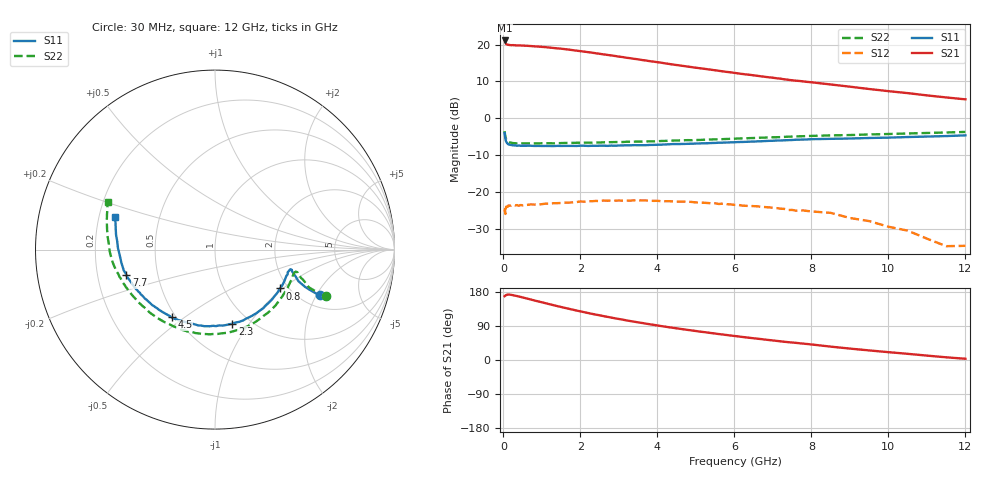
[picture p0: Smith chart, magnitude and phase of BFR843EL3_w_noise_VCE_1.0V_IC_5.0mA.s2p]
! Infineon Technologies  Discrete & RF Semiconductors
! BFR843EL3
! VCE =  1.0 V,  IC =  5.0 mA
! Common Emitter S-Parameters:  Aug 2013
# GHz  S  MA  R  50
!  f  S11  S21  S12  S22
! GHz  MAG  ANG  MAG  ANG  MAG  ANG  MAG  ANG
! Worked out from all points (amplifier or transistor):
!   103 points, 30 MHz to 12 GHz, reference 50 ohm
!   highest |S21| = 21.1 dB at 30 MHz (marker M1)
!   |S21| within 3 dB of that: start of sweep to 2.074 GHz
!   unconditionally stable (mu >= 1): 6.679 GHz to end of sweep
!   at 400 MHz: K = 0.99, MSG = 21.7 dB, |S12| = -23.7 dB
!   at 3.7 GHz: K = 0.75, MSG = 19.0 dB, |S12| = -22.3 dB
!   at 12 GHz: K = 5.34, MAG = 9.6 dB, |S12| = -34.6 dB
!   lowest NFmin = 0.89 dB at 450 MHz
!   S11 on the Smith chart (normalised r, x): 30 MHz: 2.48, -2.13; 800 MHz: 1.81, -0.95; 2.3 GHz: 0.83, -0.84; 4.5 GHz: 0.47, -0.45; 7.7 GHz: 0.33, -0.13; 12 GHz: 0.27, +0.15
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0.03  0.6362 -23.7  11.4 168.4  0.0537 33.3  0.671 -22.9
0.04  0.5739 -23.0  10.9 169.1  0.0587 26.7  0.6058 -22.5
0.06  0.498 -20.8  10.35 170.7  0.0587 24.1  0.5379 -20.2
0.1  0.4573 -16.8  10.02 172.4  0.0633 12.5  0.4895 -16.9
0.15  0.4414 -14.7  9.896 172.6  0.0656 6.7  0.4712 -15.4
0.45  0.4237 -20.2  9.743 166.4  0.0666 4.8  0.4572 -22.2
0.8  0.4218 -30.9  9.483 157.2  0.0676 3.5  0.4566 -35.0
1.2  0.4213 -44.5  9.122 147.1  0.0697 2.5  0.4593 -50.0
1.5  0.4219 -54.0  8.816 139.8  0.0709 2.6  0.4615 -60.5
1.7  0.4226 -59.9  8.562 135.1  0.0719 1.9  0.4645 -67.0
2.1  0.4244 -71.6  8.039 126.1  0.0739 -0.3  0.4678 -79.8
2.3  0.4241 -76.9  7.783 121.8  0.0749 -0.7  0.4681 -85.4
2.8  0.4266 -89.3  7.139 111.9  0.0766 -3.8  0.4749 -98.4
3.2  0.4308 -98.0  6.639 104.5  0.0766 -6.2  0.4812 -107.8
4.1  0.4393 -115.6  5.684 89.5  0.075 -12.3  0.4923 -124.9
4.5  0.4478 -122.7  5.287 83.5  0.0738 -14.0  0.4999 -132.0
5.3  0.4591 -134.6  4.638 72.4  0.0709 -18.8  0.5139 -143.6
6.1  0.4767 -145.1  4.068 62.2  0.0668 -23.3  0.5323 -153.9
7.7  0.5137 -163.8  3.208 44.1  0.0562 -27.6  0.5704 -171.1
8.5  0.5268 -172.1  2.88 35.3  0.0521 -33.3  0.5868 -178.9
10.5  0.5572 171.6  2.198 16.3  0.0299 -33.8  0.6227 165.5
12  0.5871 161.8  1.81 3.3  0.0186 5.2  0.6539 156.2
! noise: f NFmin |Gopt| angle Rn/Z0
0.45  0.89  0.18  11  0.17
0.9  0.9  0.19  27  0.16
1.5  0.94  0.2  42  0.15
1.9  0.96  0.2  45  0.15
2.4  0.98  0.21  58  0.14
3.5  1.03  0.21  79  0.14
5.5  1.12  0.25  116  0.11
8  1.22  0.33  157  0.08
10  1.3  0.42  204  0.05
